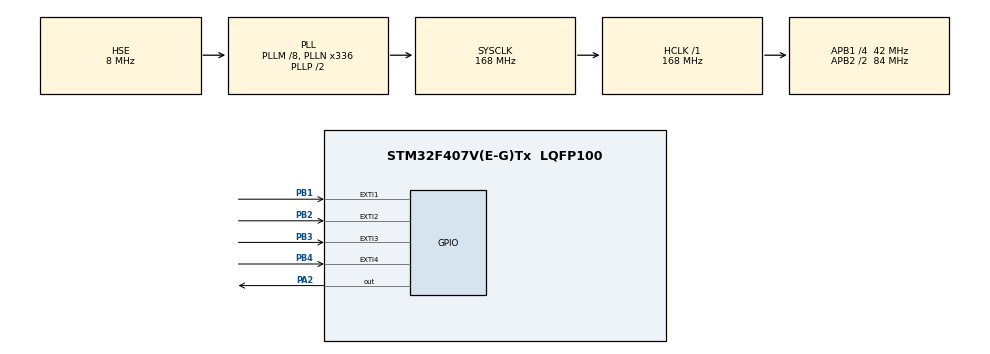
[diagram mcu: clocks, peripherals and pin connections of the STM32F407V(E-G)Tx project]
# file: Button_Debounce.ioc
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Mcu.Family=STM32F4
Mcu.Name=STM32F407V(E-G)Tx
Mcu.Package=LQFP100
NVIC.EXTI1_IRQn=true\:0\:0\:false\:false\:true\:true\:true\:true
NVIC.EXTI2_IRQn=true\:0\:0\:false\:false\:true\:true\:true\:true
NVIC.EXTI3_IRQn=true\:0\:0\:false\:false\:true\:true\:true\:true
NVIC.EXTI4_IRQn=true\:0\:0\:false\:false\:true\:true\:true\:true
NVIC.PriorityGroup=NVIC_PRIORITYGROUP_0
PA13.Mode=Serial_Wire
PA13.Signal=SYS_JTMS-SWDIO
PA14.Mode=Serial_Wire
PA14.Signal=SYS_JTCK-SWCLK
PA2.Signal=GPIO_Output
PB1.Signal=GPXTI1
PB2.Signal=GPXTI2
PB3.Signal=GPXTI3
PB4.Signal=GPXTI4
PH0-OSC_IN.Mode=HSE-External-Oscillator
PH0-OSC_IN.Signal=RCC_OSC_IN
PH1-OSC_OUT.Mode=HSE-External-Oscillator
PH1-OSC_OUT.Signal=RCC_OSC_OUT
ProjectManager.HeapSize=0x200
ProjectManager.StackSize=0x400
ProjectManager.TargetToolchain=STM32CubeIDE
RCC.48MHZClocksFreq_Value=48000000
RCC.AHBFreq_Value=168000000
RCC.APB1CLKDivider=RCC_HCLK_DIV4
RCC.APB1Freq_Value=42000000
RCC.APB1TimFreq_Value=84000000
RCC.APB2CLKDivider=RCC_HCLK_DIV2
RCC.APB2Freq_Value=84000000
RCC.APB2TimFreq_Value=168000000
RCC.CortexFreq_Value=168000000
RCC.HCLKFreq_Value=168000000
RCC.HSE_VALUE=8000000
RCC.HSI_VALUE=16000000
RCC.PLLM=8
RCC.PLLN=336
RCC.PLLQ=7
RCC.PLLSourceVirtual=RCC_PLLSOURCE_HSE
RCC.SYSCLKFreq_VALUE=168000000
RCC.SYSCLKSource=RCC_SYSCLKSOURCE_PLLCLK
RCC.VCOOutputFreq_Value=336000000
board=STM32F407G-DISC1

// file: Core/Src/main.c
/* USER CODE BEGIN Header */
/**
  ******************************************************************************
  * @file           : main.c
  * @brief          : Main program body
  ******************************************************************************
  * @attention
  *
  * Copyright (c) 2023 STMicroelectronics.
  * All rights reserved.
  *
  * This software is licensed under terms that can be found in the LICENSE file
  * in the root directory of this software component.
  * If no LICENSE file comes with this software, it is provided AS-IS.
  *
  ******************************************************************************
  */
/* USER CODE END Header */
#include "main.h"

/* USER CODE BEGIN PV */
uint16_t Button_Pressed = RESET;

uint32_t previousMillis = 0;
uint32_t currentMillis = 0;
/* USER CODE END PV */

void SystemClock_Config(void);
static void MX_GPIO_Init(void);

int main(void)
{

  /* MCU Configuration--------------------------------------------------------*/

  /* Reset of all peripherals, Initializes the Flash interface and the Systick. */
  HAL_Init();

  /* Configure the system clock */
  SystemClock_Config();

  /* Initialize all configured peripherals */
  MX_GPIO_Init();

  /* Infinite loop */
  while (1)
  {

  }
}

void SystemClock_Config(void)
{
  RCC_OscInitTypeDef RCC_OscInitStruct = {0};
  RCC_ClkInitTypeDef RCC_ClkInitStruct = {0};

  /** Configure the main internal regulator output voltage
  */
  __HAL_RCC_PWR_CLK_ENABLE();
  __HAL_PWR_VOLTAGESCALING_CONFIG(PWR_REGULATOR_VOLTAGE_SCALE1);

  /** Initializes the RCC Oscillators according to the specified parameters
  * in the RCC_OscInitTypeDef structure.
  */
  RCC_OscInitStruct.OscillatorType = RCC_OSCILLATORTYPE_HSE;
  RCC_OscInitStruct.HSEState = RCC_HSE_ON;
  RCC_OscInitStruct.PLL.PLLState = RCC_PLL_ON;
  RCC_OscInitStruct.PLL.PLLSource = RCC_PLLSOURCE_HSE;
  RCC_OscInitStruct.PLL.PLLM = 8;
  RCC_OscInitStruct.PLL.PLLN = 336;
  RCC_OscInitStruct.PLL.PLLP = RCC_PLLP_DIV2;
  RCC_OscInitStruct.PLL.PLLQ = 7;
  if (HAL_RCC_OscConfig(&RCC_OscInitStruct) != HAL_OK)
  {
    Error_Handler();
  }

  /** Initializes the CPU, AHB and APB buses clocks
  */
  RCC_ClkInitStruct.ClockType = RCC_CLOCKTYPE_HCLK|RCC_CLOCKTYPE_SYSCLK
                              |RCC_CLOCKTYPE_PCLK1|RCC_CLOCKTYPE_PCLK2;
  RCC_ClkInitStruct.SYSCLKSource = RCC_SYSCLKSOURCE_PLLCLK;
  RCC_ClkInitStruct.AHBCLKDivider = RCC_SYSCLK_DIV1;
  RCC_ClkInitStruct.APB1CLKDivider = RCC_HCLK_DIV4;
  RCC_ClkInitStruct.APB2CLKDivider = RCC_HCLK_DIV2;

  if (HAL_RCC_ClockConfig(&RCC_ClkInitStruct, FLASH_LATENCY_5) != HAL_OK)
  {
    Error_Handler();
  }
}

static void MX_GPIO_Init(void)
{
  GPIO_InitTypeDef GPIO_InitStruct = {0};

  /* GPIO Ports Clock Enable */
  __HAL_RCC_GPIOH_CLK_ENABLE();
  __HAL_RCC_GPIOA_CLK_ENABLE();
  __HAL_RCC_GPIOB_CLK_ENABLE();

  /*Configure GPIO pin Output Level */
  HAL_GPIO_WritePin(GPIOA, GPIO_PIN_2, GPIO_PIN_RESET);

  /*Configure GPIO pin : PA2 */
  GPIO_InitStruct.Pin = GPIO_PIN_2;
  GPIO_InitStruct.Mode = GPIO_MODE_OUTPUT_PP;
  GPIO_InitStruct.Pull = GPIO_NOPULL;
  GPIO_InitStruct.Speed = GPIO_SPEED_FREQ_LOW;
  HAL_GPIO_Init(GPIOA, &GPIO_InitStruct);

  /*Configure GPIO pins : PB1 PB2 PB3 PB4 */
  GPIO_InitStruct.Pin = GPIO_PIN_1|GPIO_PIN_2|GPIO_PIN_3|GPIO_PIN_4;
  GPIO_InitStruct.Mode = GPIO_MODE_IT_FALLING; //butonu dusen kenarda tetikledim.
  GPIO_InitStruct.Pull = GPIO_NOPULL;
  HAL_GPIO_Init(GPIOB, &GPIO_InitStruct);

  /* EXTI interrupt init*/
  HAL_NVIC_SetPriority(EXTI1_IRQn, 0, 0);
  HAL_NVIC_EnableIRQ(EXTI1_IRQn);

  HAL_NVIC_SetPriority(EXTI2_IRQn, 0, 0);
  HAL_NVIC_EnableIRQ(EXTI2_IRQn);

  HAL_NVIC_SetPriority(EXTI3_IRQn, 0, 0);
  HAL_NVIC_EnableIRQ(EXTI3_IRQn);

  HAL_NVIC_SetPriority(EXTI4_IRQn, 0, 0);
  HAL_NVIC_EnableIRQ(EXTI4_IRQn);

}

/* USER CODE BEGIN 4 */
void HAL_GPIO_EXTI_Callback(uint16_t GPIO_Pin)
{
	currentMillis = HAL_GetTick(); /*Interrupt olustugu andaki sureyi aliyor.*/
	if ((currentMillis - previousMillis > 2000))
	{
		//Basili olan butonun tespiti icin switch case kullanimi
    	switch(GPIO_Pin)
	    {
	    case GPIO_PIN_1 :

	    	//HAL_GPIO_TogglePin(GPIOA, GPIO_PIN_2);// Kod testi icin Led kullanimi.
	    	Button_Pressed = GPIO_PIN_1; // butona basildiginda butonun degerini degiskene atiyoruz.
	    		break;
	    case GPIO_PIN_2 :
	    	Button_Pressed = GPIO_PIN_2;
	    		break;
	    case GPIO_PIN_3 :
	    	Button_Pressed = GPIO_PIN_3;
	    		break;
	    case GPIO_PIN_4 :
	    	Button_Pressed = GPIO_PIN_4;
	    	    break;
	    default :
	    	    break;
	    }
	    previousMillis = currentMillis;
	 }
}
/* USER CODE END 4 */

void Error_Handler(void)
{
  __disable_irq();
  while (1)
  {
  }
}
